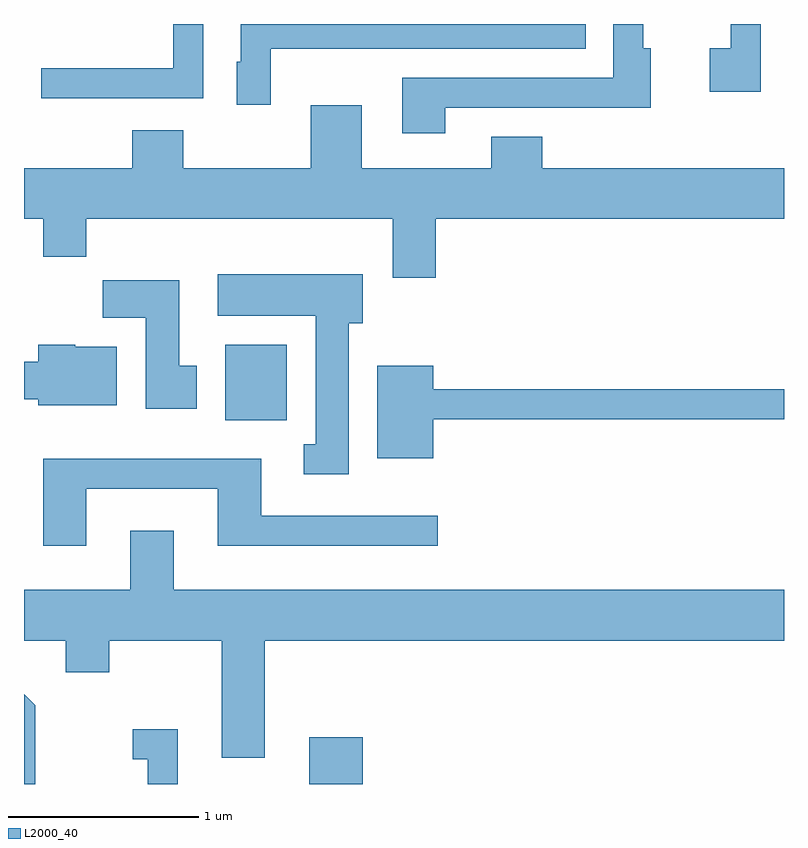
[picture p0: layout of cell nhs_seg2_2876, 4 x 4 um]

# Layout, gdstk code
import gdstk
lib = gdstk.Library(unit=1e-6, precision=1e-09)
def R(c, l, rs):  # rectangles x0, y0, x1, y1
    for r in rs: c.add(gdstk.rectangle(r[:2], r[2:], *l))
def P(c, l, *ps):  # polygons
    for p in ps: c.add(gdstk.Polygon(p, *l))
L2000_40 = (2000, 40)

nhs_seg2_2876 = lib.new_cell('nhs_seg2_2876')
R(nhs_seg2_2876, L2000_40, [(271.111,1029.802,271.394,1030.049), (270.671,1031.716,270.994,1032.114)])
P(nhs_seg2_2876, L2000_40, [(273.489,1033.802),(273.331,1033.802),(273.331,1033.674),(273.221,1033.674),(273.221,1033.446),(273.489,1033.446)],
  [(270.909,1033.671),(272.568,1033.671),(272.568,1033.802),(270.751,1033.802),(270.751,1033.604),(270.731,1033.604),(270.731,1033.376),(270.909,1033.376)],
  [(271.829,1033.361),(272.909,1033.361),(272.909,1033.674),(272.869,1033.674),(272.869,1033.802),(272.711,1033.802),(272.711,1033.519),(271.601,1033.519),(271.601,1033.226),(271.829,1033.226)],
  [(270.554,1033.802),(270.396,1033.802),(270.396,1033.569),(269.703,1033.569),(269.703,1033.411),(270.554,1033.411)],
  [(271.779,1032.776),(273.611,1032.776),(273.611,1033.044),(272.339,1033.044),(272.339,1033.209),(272.071,1033.209),(272.071,1033.044),(271.389,1033.044),(271.389,1033.374),(271.121,1033.374),(271.121,1033.044),(270.449,1033.044),(270.449,1033.244),(270.181,1033.244),(270.181,1033.044),(269.611,1033.044),(269.611,1032.776),(269.711,1032.776),(269.711,1032.576),(269.939,1032.576),(269.939,1032.776),(271.551,1032.776),(271.551,1032.466),(271.779,1032.466)],
  [(271.319,1032.226),(271.394,1032.226),(271.394,1032.484),(270.631,1032.484),(270.631,1032.266),(271.146,1032.266),(271.146,1031.589),(271.083,1031.589),(271.083,1031.431),(271.319,1031.431)],
  [(270.519,1032.004),(270.429,1032.004),(270.429,1032.454),(270.026,1032.454),(270.026,1032.256),(270.251,1032.256),(270.251,1031.776),(270.519,1031.776)],
  [(270.099,1032.104),(269.88,1032.104),(269.88,1032.114),(269.686,1032.114),(269.686,1032.024),(269.611,1032.024),(269.611,1031.826),(269.686,1031.826),(269.686,1031.796),(270.099,1031.796)],
  [(271.764,1031.721),(273.611,1031.721),(273.611,1031.879),(271.764,1031.879),(271.764,1032.004),(271.471,1032.004),(271.471,1031.516),(271.764,1031.516)],
  [(269.939,1031.356),(270.631,1031.356),(270.631,1031.056),(271.788,1031.056),(271.788,1031.214),(270.859,1031.214),(270.859,1031.514),(269.711,1031.514),(269.711,1031.056),(269.939,1031.056)],
  [(270.879,1030.556),(273.611,1030.556),(273.611,1030.824),(270.399,1030.824),(270.399,1031.134),(270.171,1031.134),(270.171,1030.824),(269.611,1030.824),(269.611,1030.556),(269.831,1030.556),(269.831,1030.391),(270.059,1030.391),(270.059,1030.556),(270.651,1030.556),(270.651,1029.941),(270.879,1029.941)],
  [(269.669,1030.217),(269.611,1030.275),(269.611,1029.802),(269.669,1029.802)],
  [(270.419,1030.089),(270.183,1030.089),(270.183,1029.931),(270.261,1029.931),(270.261,1029.802),(270.419,1029.802)])

lib.write_gds('nhs_seg2_2876.gds')
